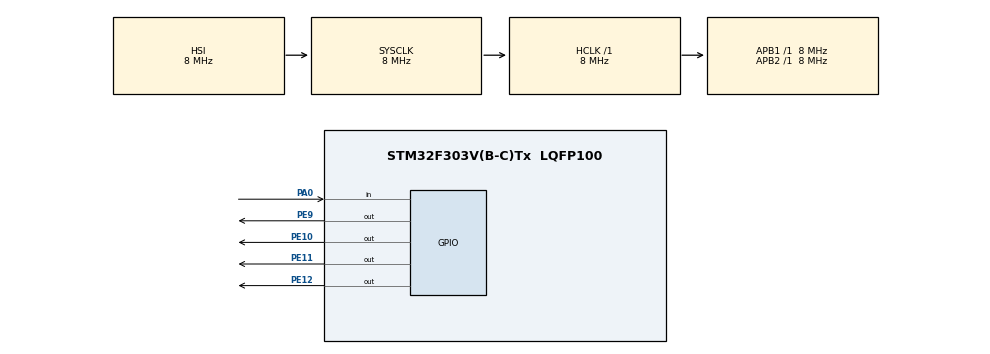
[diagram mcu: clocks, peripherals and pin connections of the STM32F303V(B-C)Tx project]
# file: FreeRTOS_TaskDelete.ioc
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FREERTOS.Tasks01=defaultTask,0,128,StartDefaultTask,Default,NULL,Dynamic,NULL,NULL
Mcu.Family=STM32F3
Mcu.Name=STM32F303V(B-C)Tx
Mcu.Package=LQFP100
NVIC.PriorityGroup=NVIC_PRIORITYGROUP_4
PA0.Signal=GPIO_Input
PE10.Signal=GPIO_Output
PE11.Signal=GPIO_Output
PE12.Signal=GPIO_Output
PE9.Signal=GPIO_Output
ProjectManager.HeapSize=0x200
ProjectManager.StackSize=0x400
ProjectManager.TargetToolchain=STM32CubeIDE
RCC.AHBFreq_Value=8000000
RCC.APB1Freq_Value=8000000
RCC.APB2Freq_Value=8000000
RCC.CortexFreq_Value=8000000
RCC.HSE_VALUE=8000000
RCC.HSI_VALUE=8000000
RCC.LSE_VALUE=32768
RCC.SYSCLKFreq_VALUE=8000000
VP_FREERTOS_VS_CMSIS_V1.Mode=CMSIS_V1
board=custom

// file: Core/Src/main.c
/* USER CODE BEGIN Header */
/**
  ******************************************************************************
  * @file           : main.c
  * @brief          : Main program body
  ******************************************************************************
  * @attention
  *
  * Copyright (c) 2023 STMicroelectronics.
  * All rights reserved.
  *
  * This software is licensed under terms that can be found in the LICENSE file
  * in the root directory of this software component.
  * If no LICENSE file comes with this software, it is provided AS-IS.
  *
  ******************************************************************************
  */
/* USER CODE END Header */
#include "main.h"
#include "cmsis_os.h"

/* USER CODE BEGIN Includes */
#include "FreeRTOS.h"
#include "task.h"
/* USER CODE END Includes */

osThreadId defaultTaskHandle;
/* USER CODE BEGIN PV */

TaskHandle_t task1handle=NULL;
TaskHandle_t task2handle=NULL;
void task1(void *params);
void task2(void *params);
/* USER CODE END PV */

void SystemClock_Config(void);
static void MX_GPIO_Init(void);
void StartDefaultTask(void const * argument);

int main(void)
{

  /* MCU Configuration--------------------------------------------------------*/

  /* Reset of all peripherals, Initializes the Flash interface and the Systick. */
  HAL_Init();

  /* Configure the system clock */
  SystemClock_Config();

  /* Initialize all configured peripherals */
  MX_GPIO_Init();

  /* Create the thread(s) */
  /* definition and creation of defaultTask */
  osThreadDef(defaultTask, StartDefaultTask, osPriorityNormal, 0, 128);
  defaultTaskHandle = osThreadCreate(osThread(defaultTask), NULL);

  /* USER CODE BEGIN RTOS_THREADS */
  /* add threads, ... */

  xTaskCreate(task1, "task1", configMINIMAL_STACK_SIZE, NULL, 3, &task1handle);
  xTaskCreate(task2, "task2(delete)", configMINIMAL_STACK_SIZE, NULL, 4, &task2handle);
  vTaskStartScheduler();
  /* USER CODE END RTOS_THREADS */

  /* Start scheduler */
  osKernelStart();
  /* We should never get here as control is now taken by the scheduler */
  /* Infinite loop */
  while (1)
  {

  }
}

void SystemClock_Config(void)
{
  RCC_OscInitTypeDef RCC_OscInitStruct = {0};
  RCC_ClkInitTypeDef RCC_ClkInitStruct = {0};

  /** Initializes the RCC Oscillators according to the specified parameters
  * in the RCC_OscInitTypeDef structure.
  */
  RCC_OscInitStruct.OscillatorType = RCC_OSCILLATORTYPE_HSI;
  RCC_OscInitStruct.HSIState = RCC_HSI_ON;
  RCC_OscInitStruct.HSICalibrationValue = RCC_HSICALIBRATION_DEFAULT;
  RCC_OscInitStruct.PLL.PLLState = RCC_PLL_NONE;
  if (HAL_RCC_OscConfig(&RCC_OscInitStruct) != HAL_OK)
  {
    Error_Handler();
  }

  /** Initializes the CPU, AHB and APB buses clocks
  */
  RCC_ClkInitStruct.ClockType = RCC_CLOCKTYPE_HCLK|RCC_CLOCKTYPE_SYSCLK
                              |RCC_CLOCKTYPE_PCLK1|RCC_CLOCKTYPE_PCLK2;
  RCC_ClkInitStruct.SYSCLKSource = RCC_SYSCLKSOURCE_HSI;
  RCC_ClkInitStruct.AHBCLKDivider = RCC_SYSCLK_DIV1;
  RCC_ClkInitStruct.APB1CLKDivider = RCC_HCLK_DIV1;
  RCC_ClkInitStruct.APB2CLKDivider = RCC_HCLK_DIV1;

  if (HAL_RCC_ClockConfig(&RCC_ClkInitStruct, FLASH_LATENCY_0) != HAL_OK)
  {
    Error_Handler();
  }
}

static void MX_GPIO_Init(void)
{
  GPIO_InitTypeDef GPIO_InitStruct = {0};

  /* GPIO Ports Clock Enable */
  __HAL_RCC_GPIOA_CLK_ENABLE();
  __HAL_RCC_GPIOE_CLK_ENABLE();

  /*Configure GPIO pin Output Level */
  HAL_GPIO_WritePin(GPIOE, GPIO_PIN_9|GPIO_PIN_10|GPIO_PIN_11|GPIO_PIN_12, GPIO_PIN_RESET);

  /*Configure GPIO pin : PA0 */
  GPIO_InitStruct.Pin = GPIO_PIN_0;
  GPIO_InitStruct.Mode = GPIO_MODE_INPUT;
  GPIO_InitStruct.Pull = GPIO_NOPULL;
  HAL_GPIO_Init(GPIOA, &GPIO_InitStruct);

  /*Configure GPIO pins : PE9 PE10 PE11 PE12 */
  GPIO_InitStruct.Pin = GPIO_PIN_9|GPIO_PIN_10|GPIO_PIN_11|GPIO_PIN_12;
  GPIO_InitStruct.Mode = GPIO_MODE_OUTPUT_PP;
  GPIO_InitStruct.Pull = GPIO_NOPULL;
  GPIO_InitStruct.Speed = GPIO_SPEED_FREQ_LOW;
  HAL_GPIO_Init(GPIOE, &GPIO_InitStruct);

}

/* USER CODE BEGIN 4 */

void task1(void *params){

	while(1){

		HAL_GPIO_TogglePin(GPIOE, GPIO_PIN_9|GPIO_PIN_10);
		vTaskDelay(pdMS_TO_TICKS(1000));

	}

}

void task2(void *params){

	while(1){

		HAL_GPIO_TogglePin(GPIOE, GPIO_PIN_11|GPIO_PIN_12);
		vTaskDelay(pdMS_TO_TICKS(500));

		if(HAL_GPIO_ReadPin(GPIOA, GPIO_PIN_0)){

			HAL_GPIO_WritePin(GPIOE, GPIO_PIN_11|GPIO_PIN_12,GPIO_PIN_RESET);

			vTaskDelete(task2handle);
		}

	}

}
/* USER CODE END 4 */

void StartDefaultTask(void const * argument)
{
  for(;;)
  {
    osDelay(1);
  }
}

void Error_Handler(void)
{
  __disable_irq();
  while (1)
  {
  }
}
